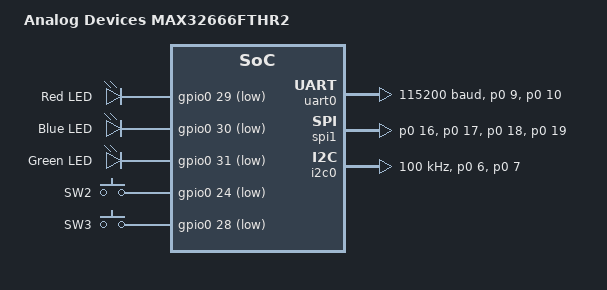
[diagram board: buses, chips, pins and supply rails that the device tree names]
/*
 * Copyright (c) 2023 Analog Devices, Inc.
 *
 * SPDX-License-Identifier: Apache-2.0
 */

/dts-v1/;

 #include <adi/max32666.dtsi>
 #include <adi/max32666-pinctrl.dtsi>

/ {
	 model = "Analog Devices MAX32666FTHR2";
	 compatible = "adi,max32666fthr2";

	 chosen {
		 zephyr,console = &uart0;
		 zephyr,shell-uart = &uart0;
		 zephyr,sram = &sram0;
		 zephyr,flash = &flash0;
	 };

	 leds {
		 compatible = "gpio-leds";
		 led1: led_1 {
			 gpios = <&gpio0 29 GPIO_ACTIVE_LOW>;
			 label = "Red LED";
		 };
		 led2: led_2 {
			 gpios = <&gpio0 30 GPIO_ACTIVE_LOW>;
			 label = "Blue LED";
		 };
		 led3: led_3 {
			 gpios = <&gpio0 31 GPIO_ACTIVE_LOW>;
			 label = "Green LED";
		 };
	 };

	 buttons {
		 compatible = "gpio-keys";
		 pb1: pb1 {
			 gpios = <&gpio0 24 (GPIO_PULL_UP | GPIO_ACTIVE_LOW)>;
			 label = "SW2";
		 };
		 pb2: pb2 {
			 gpios = <&gpio0 28 (GPIO_PULL_UP | GPIO_ACTIVE_LOW)>;
			 label = "SW3";
		 };
	 };

	 /* These aliases are provided for compatibility with samples */
	 aliases {
		led0 = &led1;
		led1 = &led2;
		led2 = &led3;
		sw0 = &pb1;
		sw1 = &pb2;
	 };
};

&uart0 {
	pinctrl-0 = <&uart0_tx_p0_9 &uart0_rx_p0_10>;
	pinctrl-names = "default";
	current-speed = <115200>;
	parity = "none";
	status = "okay";
};

&spi1 {
	pinctrl-0 = <&spi1_ss0_p0_16 &spi1_mosi_p0_17
		     &spi1_miso_p0_18 &spi1_sck_p0_19>;
	pinctrl-names = "default";
	cs0-pin = "HSPI_CSN_PA1";
	status = "okay";
};

&i2c0 {
	pinctrl-0 = <&i2c0_scl_p0_6 &i2c0_sda_p0_7>;
	pinctrl-names = "default";
	clock-frequency = <I2C_BITRATE_STANDARD>;
	status = "okay";
};
